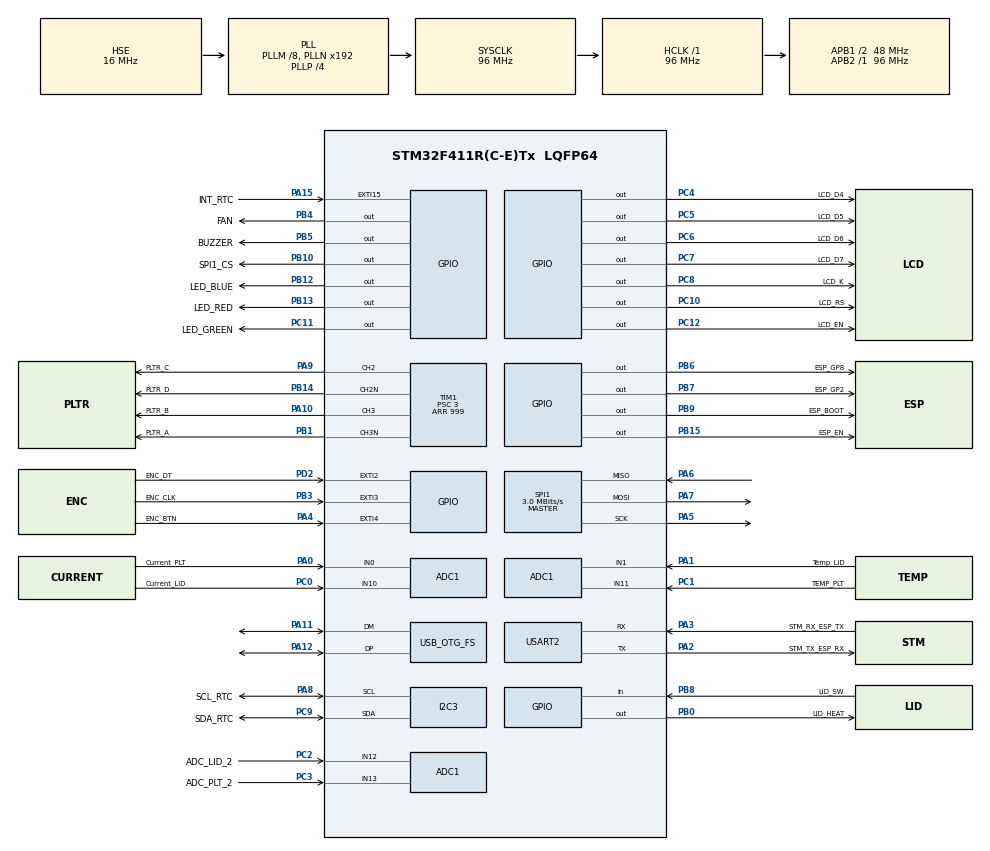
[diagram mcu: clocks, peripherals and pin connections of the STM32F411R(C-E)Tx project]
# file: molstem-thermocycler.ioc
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ADC1.Channel-0\#ChannelRegularConversion=ADC_CHANNEL_0
ADC1.Channel-5\#ChannelRegularConversion=ADC_CHANNEL_1
ADC1.Channel-6\#ChannelRegularConversion=ADC_CHANNEL_11
ADC1.Channel-7\#ChannelRegularConversion=ADC_CHANNEL_10
ADC1.ContinuousConvMode=DISABLE
ADC1.DMAContinuousRequests=ENABLE
ADC1.EOCSelection=ADC_EOC_SEQ_CONV
ADC1.ExternalTrigConv=ADC_EXTERNALTRIGCONV_T2_TRGO
ADC1.InjNumberOfConversion=0
ADC1.NbrOfConversion=4
ADC1.NbrOfConversionFlag=1
ADC1.Rank-0\#ChannelRegularConversion=1
ADC1.Rank-5\#ChannelRegularConversion=2
ADC1.Rank-6\#ChannelRegularConversion=3
ADC1.Rank-7\#ChannelRegularConversion=4
ADC1.SamplingTime-0\#ChannelRegularConversion=ADC_SAMPLETIME_84CYCLES
ADC1.SamplingTime-5\#ChannelRegularConversion=ADC_SAMPLETIME_84CYCLES
ADC1.SamplingTime-6\#ChannelRegularConversion=ADC_SAMPLETIME_84CYCLES
ADC1.SamplingTime-7\#ChannelRegularConversion=ADC_SAMPLETIME_84CYCLES
ADC1.ScanConvMode=ENABLE
ADC1.master=1
Dma.ADC1.0.Direction=DMA_PERIPH_TO_MEMORY
Dma.ADC1.0.FIFOMode=DMA_FIFOMODE_DISABLE
Dma.ADC1.0.Instance=DMA2_Stream0
Dma.ADC1.0.MemDataAlignment=DMA_MDATAALIGN_HALFWORD
Dma.ADC1.0.MemInc=DMA_MINC_ENABLE
Dma.ADC1.0.Mode=DMA_CIRCULAR
Dma.ADC1.0.PeriphDataAlignment=DMA_PDATAALIGN_HALFWORD
Dma.ADC1.0.PeriphInc=DMA_PINC_DISABLE
Dma.ADC1.0.Priority=DMA_PRIORITY_HIGH
Dma.Request0=ADC1
Dma.Request1=USART2_RX
Dma.USART2_RX.1.Direction=DMA_PERIPH_TO_MEMORY
Dma.USART2_RX.1.FIFOMode=DMA_FIFOMODE_DISABLE
Dma.USART2_RX.1.Instance=DMA1_Stream5
Dma.USART2_RX.1.MemDataAlignment=DMA_MDATAALIGN_BYTE
Dma.USART2_RX.1.MemInc=DMA_MINC_ENABLE
Dma.USART2_RX.1.Mode=DMA_CIRCULAR
Dma.USART2_RX.1.PeriphDataAlignment=DMA_PDATAALIGN_BYTE
Dma.USART2_RX.1.PeriphInc=DMA_PINC_DISABLE
Dma.USART2_RX.1.Priority=DMA_PRIORITY_LOW
FATFS._CODE_PAGE=850
FATFS._FS_LOCK=1
FATFS._FS_TINY=1
FATFS._LFN_UNICODE=0
FATFS._USE_LFN=3
FREERTOS.BinarySemaphores01=esp_rx_ackd,Dynamic,NULL,Depleted;esp_tx_rdy,Dynamic,NULL,Depleted;esp_rx_rcvd,Dynamic,NULL,Depleted
FREERTOS.Mutexes01=esp_io,Dynamic,NULL,Available
FREERTOS.Tasks01=microscheduler,32,2048,microscheduler_task,Default,NULL,Dynamic,NULL,NULL;usb_logging,8,2048,usb_logging_task,Default,NULL,Dynamic,NULL,NULL;control,55,1024,control_task,Default,NULL,Dynamic,NULL,NULL;uart_bridge,8,1024,uart_bridge_task,Default,NULL,Dynamic,NULL,NULL;esp_tx,8,128,esp_tx_task,Default,NULL,Dynamic,NULL,NULL
FREERTOS.configENABLE_FPU=1
FREERTOS.configMINIMAL_STACK_SIZE=128
FREERTOS.configTIMER_TASK_PRIORITY=3
FREERTOS.configTOTAL_HEAP_SIZE=80000
FREERTOS.configUSE_NEWLIB_REENTRANT=1
Mcu.Family=STM32F4
Mcu.Name=STM32F411R(C-E)Tx
Mcu.Package=LQFP64
NVIC.DMA1_Stream5_IRQn=true\:5\:0\:false\:false\:true\:true\:false\:true\:true
NVIC.DMA2_Stream0_IRQn=true\:5\:0\:false\:false\:true\:true\:false\:true\:true
NVIC.EXTI2_IRQn=true\:5\:0\:false\:false\:true\:true\:true\:true\:true
NVIC.EXTI3_IRQn=true\:5\:0\:false\:false\:true\:true\:true\:true\:true
NVIC.EXTI4_IRQn=true\:12\:0\:true\:false\:true\:true\:true\:true\:true
NVIC.OTG_FS_IRQn=true\:5\:0\:false\:false\:true\:true\:false\:true\:true
NVIC.PriorityGroup=NVIC_PRIORITYGROUP_4
NVIC.TIM1_BRK_TIM9_IRQn=true\:5\:0\:false\:false\:true\:true\:true\:true\:true
NVIC.TIM1_TRG_COM_TIM11_IRQn=true\:5\:0\:false\:false\:true\:false\:false\:true\:true
NVIC.TIM1_UP_TIM10_IRQn=true\:15\:0\:false\:false\:true\:false\:false\:true\:true
NVIC.TIM2_IRQn=true\:5\:0\:false\:false\:true\:true\:true\:true\:true
NVIC.TIM4_IRQn=true\:5\:0\:false\:false\:true\:true\:true\:true\:true
NVIC.TimeBase=TIM1_UP_TIM10_IRQn
NVIC.TimeBaseIP=TIM10
NVIC.USART2_IRQn=true\:5\:0\:false\:false\:true\:true\:true\:true\:true
PA0-WKUP.GPIO_Label=Current_PLT
PA0-WKUP.Signal=ADCx_IN0
PA1.GPIO_Label=Temp_LID
PA1.Signal=ADCx_IN1
PA10.GPIO_Label=PLTR_B
PA10.Signal=S_TIM1_CH3
PA11.Mode=Device_Only
PA11.Signal=USB_OTG_FS_DM
PA12.Mode=Device_Only
PA12.Signal=USB_OTG_FS_DP
PA13.Mode=Serial_Wire
PA13.Signal=SYS_JTMS-SWDIO
PA14.Mode=Serial_Wire
PA14.Signal=SYS_JTCK-SWCLK
PA15.GPIO_Label=INT_RTC
PA15.GPIO_ModeDefaultEXTI=GPIO_MODE_IT_FALLING
PA15.GPIO_PuPd=GPIO_PULLUP
PA15.Signal=GPXTI15
PA2.GPIO_Label=STM_TX_ESP_RX
PA2.Mode=Asynchronous
PA2.Signal=USART2_TX
PA3.GPIO_Label=STM_RX_ESP_TX
PA3.Mode=Asynchronous
PA3.Signal=USART2_RX
PA4.GPIO_Label=ENC_BTN
PA4.GPIO_ModeDefaultEXTI=GPIO_MODE_IT_RISING_FALLING
PA4.Signal=GPXTI4
PA5.Mode=Full_Duplex_Master
PA5.Signal=SPI1_SCK
PA6.Mode=Full_Duplex_Master
PA6.Signal=SPI1_MISO
PA7.Mode=Full_Duplex_Master
PA7.Signal=SPI1_MOSI
PA8.GPIO_Label=SCL_RTC
PA8.GPIO_Pu=GPIO_PULLUP
PA8.Mode=I2C
PA8.Signal=I2C3_SCL
PA9.GPIO_Label=PLTR_C
PA9.Signal=S_TIM1_CH2
PB0.GPIO_Label=LID_HEAT
PB0.Signal=GPIO_Output
PB1.GPIO_Label=PLTR_A
PB1.Mode=PWM Generation3 CH3 CH3N
PB1.Signal=TIM1_CH3N
PB10.GPIO_Label=SPI1_CS
PB10.Signal=GPIO_Output
PB12.GPIO_Label=LED_BLUE
PB12.Signal=GPIO_Output
PB13.GPIO_Label=LED_RED
PB13.Signal=GPIO_Output
PB14.GPIO_Label=PLTR_D
PB14.Mode=PWM Generation2 CH2 CH2N
PB14.Signal=TIM1_CH2N
PB15.GPIO_Label=ESP_EN
PB15.Signal=GPIO_Output
PB3.GPIO_Label=ENC_CLK
PB3.GPIO_ModeDefaultEXTI=GPIO_MODE_IT_RISING_FALLING
PB3.GPIO_PuPd=GPIO_PULLUP
PB3.Signal=GPXTI3
PB4.GPIO_Label=FAN
PB4.Signal=GPIO_Output
PB5.GPIO_Label=BUZZER
PB5.Signal=GPIO_Output
PB6.GPIO_Label=ESP_GP8
PB6.Signal=GPIO_Output
PB7.GPIO_Label=ESP_GP2
PB7.Signal=GPIO_Output
PB8.GPIO_Label=LID_SW
PB8.Signal=GPIO_Input
PB9.GPIO_Label=ESP_BOOT
PB9.Signal=GPIO_Output
PC0.GPIO_Label=Current_LID
PC0.Signal=ADCx_IN10
PC1.GPIO_Label=TEMP_PLT
PC1.Signal=ADCx_IN11
PC10.GPIO_Label=LCD_RS
PC10.Signal=GPIO_Output
PC11.GPIO_Label=LED_GREEN
PC11.Signal=GPIO_Output
PC12.GPIO_Label=LCD_EN
PC12.Signal=GPIO_Output
PC14-OSC32_IN.Mode=LSE-External-Oscillator
PC14-OSC32_IN.Signal=RCC_OSC32_IN
PC15-OSC32_OUT.Mode=LSE-External-Oscillator
PC15-OSC32_OUT.Signal=RCC_OSC32_OUT
PC2.GPIO_Label=ADC_LID_2
PC2.Signal=ADCx_IN12
PC3.GPIO_Label=ADC_PLT_2
PC3.Signal=SharedAnalog_PC3
PC4.GPIO_Label=LCD_D4
PC4.Signal=GPIO_Output
PC5.GPIO_Label=LCD_D5
PC5.Signal=GPIO_Output
PC6.GPIO_Label=LCD_D6
PC6.Signal=GPIO_Output
PC7.GPIO_Label=LCD_D7
PC7.Signal=GPIO_Output
PC8.GPIO_Label=LCD_K
PC8.Signal=GPIO_Output
PC9.GPIO_Label=SDA_RTC
PC9.GPIO_Pu=GPIO_PULLUP
PC9.Mode=I2C
PC9.Signal=I2C3_SDA
PD2.GPIO_Label=ENC_DT
PD2.GPIO_ModeDefaultEXTI=GPIO_MODE_IT_RISING_FALLING
PD2.GPIO_PuPd=GPIO_PULLUP
PD2.Signal=GPXTI2
PH0\ -\ OSC_IN.Mode=HSE-External-Oscillator
PH0\ -\ OSC_IN.Signal=RCC_OSC_IN
PH1\ -\ OSC_OUT.Mode=HSE-External-Oscillator
PH1\ -\ OSC_OUT.Signal=RCC_OSC_OUT
ProjectManager.HeapSize=0x2000
ProjectManager.StackSize=0x1600
ProjectManager.TargetToolchain=STM32CubeIDE
RCC.48MHZClocksFreq_Value=48000000
RCC.AHBFreq_Value=96000000
RCC.APB1CLKDivider=RCC_HCLK_DIV2
RCC.APB1Freq_Value=48000000
RCC.APB1TimFreq_Value=96000000
RCC.APB2Freq_Value=96000000
RCC.APB2TimFreq_Value=96000000
RCC.CortexFreq_Value=96000000
RCC.EnbaleCSS=true
RCC.HCLKFreq_Value=96000000
RCC.HSE_VALUE=16000000
RCC.HSI_VALUE=16000000
RCC.PLLM=8
RCC.PLLP=RCC_PLLP_DIV4
RCC.PLLQ=8
RCC.SYSCLKFreq_VALUE=96000000
RCC.SYSCLKSource=RCC_SYSCLKSOURCE_PLLCLK
RCC.VCOOutputFreq_Value=384000000
SH.ADCx_IN0.0=ADC1_IN0,IN0
SH.ADCx_IN1.0=ADC1_IN1,IN1
SH.ADCx_IN10.0=ADC1_IN10,IN10
SH.ADCx_IN11.0=ADC1_IN11,IN11
SH.ADCx_IN12.0=ADC1_IN12,IN12
SH.S_TIM1_CH2.0=TIM1_CH2,PWM Generation2 CH2 CH2N
SH.S_TIM1_CH3.0=TIM1_CH3,PWM Generation3 CH3 CH3N
SH.SharedAnalog_PC3.0=GPIO_Analog
SH.SharedAnalog_PC3.1=ADC1_IN13,IN13
SPI1.BaudRatePrescaler=SPI_BAUDRATEPRESCALER_32
SPI1.CalculateBaudRate=3.0 MBits/s
SPI1.Direction=SPI_DIRECTION_2LINES
SPI1.Mode=SPI_MODE_MASTER
SPI1.VirtualType=VM_MASTER
TIM1.BreakPolarity=TIM_BREAKPOLARITY_HIGH
TIM1.Channel-PWM\ Generation2\ CH2\ CH2N=TIM_CHANNEL_2
TIM1.Channel-PWM\ Generation3\ CH3\ CH3N=TIM_CHANNEL_3
TIM1.DeadTime=50
TIM1.OCFastMode_PWM-PWM\ Generation2\ CH2\ CH2N=TIM_OCFAST_DISABLE
TIM1.OCIdleState_2=TIM_OCIDLESTATE_RESET
TIM1.OCMode_PWM-PWM\ Generation2\ CH2\ CH2N=TIM_OCMODE_PWM1
TIM1.OCNPolarity_2=TIM_OCNPOLARITY_HIGH
TIM1.Period=999
TIM1.Prescaler=3
TIM1.Pulse-PWM\ Generation2\ CH2\ CH2N=0
TIM2.AutoReloadPreload=TIM_AUTORELOAD_PRELOAD_ENABLE
TIM2.Period=999
TIM2.Prescaler=95
TIM2.TIM_MasterOutputTrigger=TIM_TRGO_UPDATE
TIM4.Period=99
TIM4.Prescaler=9999
TIM9.Period=9999
TIM9.Prescaler=9999
USART2.VirtualMode=VM_ASYNC
USB_DEVICE.CLASS_NAME_FS=CDC
USB_DEVICE.MANUFACTURER_STRING=molstem.com
USB_DEVICE.PRODUCT_STRING_CDC_FS=molstem thermocycler
USB_DEVICE.VirtualMode=Cdc
USB_DEVICE.VirtualModeFS=Cdc_FS
USB_OTG_FS.VirtualMode=Device_Only
VP_CRC_VS_CRC.Mode=CRC_Activate
VP_FATFS_VS_Generic.Mode=User_defined
VP_FREERTOS_VS_CMSIS_V2.Mode=CMSIS_V2
VP_SYS_VS_tim10.Mode=TIM10
VP_TIM1_VS_ClockSourceINT.Mode=Internal
VP_TIM2_VS_ClockSourceINT.Mode=Internal
VP_TIM4_VS_ClockSourceINT.Mode=Internal
VP_TIM9_VS_ClockSourceINT.Mode=Internal
VP_USB_DEVICE_VS_USB_DEVICE_CDC_FS.Mode=CDC_FS
board=custom

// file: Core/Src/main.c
/* USER CODE BEGIN Header */
/**
 ******************************************************************************
 * @file           : main.c
 * @brief          : Main program body
 ******************************************************************************
 * @attention
 *
 * Copyright (c) 2025 STMicroelectronics.
 * All rights reserved.
 *
 * This software is licensed under terms that can be found in the LICENSE file
 * in the root directory of this software component.
 * If no LICENSE file comes with this software, it is provided AS-IS.
 *
 ******************************************************************************
 */
/* USER CODE END Header */
#include "main.h"
#include "cmsis_os.h"
#include "adc.h"
#include "crc.h"
#include "dma.h"
#include "fatfs.h"
#include "i2c.h"
#include "spi.h"
#include "tim.h"
#include "usart.h"
#include "usb_device.h"
#include "gpio.h"

void SystemClock_Config(void);
void MX_FREERTOS_Init(void);

int main(void)
{

  /* MCU Configuration--------------------------------------------------------*/

  /* Reset of all peripherals, Initializes the Flash interface and the Systick. */
  HAL_Init();

  /* Configure the system clock */
  SystemClock_Config();

  /* Initialize all configured peripherals */
  MX_GPIO_Init();
  MX_DMA_Init();
  MX_TIM1_Init();
  MX_SPI1_Init();
  MX_FATFS_Init();
  MX_TIM9_Init();
  MX_I2C3_Init();
  MX_TIM4_Init();
  MX_ADC1_Init();
  MX_USART2_UART_Init();
  MX_TIM2_Init();
  MX_CRC_Init();
  /* USER CODE BEGIN 2 */
  extern int molstem_before_kernel_start();
  if (!molstem_before_kernel_start()) {
    for(;;) {
	}
  }
  /* USER CODE END 2 */

  /* Init scheduler */
  osKernelInitialize();  /* Call init function for freertos objects (in cmsis_os2.c) */
  MX_FREERTOS_Init();

  /* Start scheduler */
  osKernelStart();

  /* We should never get here as control is now taken by the scheduler */

  /* Infinite loop */
	while (1)
	{

	}
}

void SystemClock_Config(void)
{
  RCC_OscInitTypeDef RCC_OscInitStruct = {0};
  RCC_ClkInitTypeDef RCC_ClkInitStruct = {0};

  /** Configure the main internal regulator output voltage
  */
  __HAL_RCC_PWR_CLK_ENABLE();
  __HAL_PWR_VOLTAGESCALING_CONFIG(PWR_REGULATOR_VOLTAGE_SCALE1);

  /** Initializes the RCC Oscillators according to the specified parameters
  * in the RCC_OscInitTypeDef structure.
  */
  RCC_OscInitStruct.OscillatorType = RCC_OSCILLATORTYPE_HSE;
  RCC_OscInitStruct.HSEState = RCC_HSE_ON;
  RCC_OscInitStruct.PLL.PLLState = RCC_PLL_ON;
  RCC_OscInitStruct.PLL.PLLSource = RCC_PLLSOURCE_HSE;
  RCC_OscInitStruct.PLL.PLLM = 8;
  RCC_OscInitStruct.PLL.PLLN = 192;
  RCC_OscInitStruct.PLL.PLLP = RCC_PLLP_DIV4;
  RCC_OscInitStruct.PLL.PLLQ = 8;
  if (HAL_RCC_OscConfig(&RCC_OscInitStruct) != HAL_OK)
  {
    Error_Handler();
  }

  /** Initializes the CPU, AHB and APB buses clocks
  */
  RCC_ClkInitStruct.ClockType = RCC_CLOCKTYPE_HCLK|RCC_CLOCKTYPE_SYSCLK
                              |RCC_CLOCKTYPE_PCLK1|RCC_CLOCKTYPE_PCLK2;
  RCC_ClkInitStruct.SYSCLKSource = RCC_SYSCLKSOURCE_PLLCLK;
  RCC_ClkInitStruct.AHBCLKDivider = RCC_SYSCLK_DIV1;
  RCC_ClkInitStruct.APB1CLKDivider = RCC_HCLK_DIV2;
  RCC_ClkInitStruct.APB2CLKDivider = RCC_HCLK_DIV1;

  if (HAL_RCC_ClockConfig(&RCC_ClkInitStruct, FLASH_LATENCY_3) != HAL_OK)
  {
    Error_Handler();
  }

  /** Enables the Clock Security System
  */
  HAL_RCC_EnableCSS();
}

void HAL_TIM_PeriodElapsedCallback(TIM_HandleTypeDef *htim)
{
  /* USER CODE BEGIN Callback 0 */
	if (htim->Instance == TIM2)
	{
		void control_interrupt();
		control_interrupt();
	}
  /* USER CODE END Callback 0 */
  if (htim->Instance == TIM10)
  {
    HAL_IncTick();
  }
}

void Error_Handler(void)
{
	__disable_irq();
	while (1)
	{
	}
}

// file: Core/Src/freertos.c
/* USER CODE BEGIN Header */
/**
  ******************************************************************************
  * File Name          : freertos.c
  * Description        : Code for freertos applications
  ******************************************************************************
  * @attention
  *
  * Copyright (c) 2025 STMicroelectronics.
  * All rights reserved.
  *
  * This software is licensed under terms that can be found in the LICENSE file
  * in the root directory of this software component.
  * If no LICENSE file comes with this software, it is provided AS-IS.
  *
  ******************************************************************************
  */
/* USER CODE END Header */

#include "FreeRTOS.h"
#include "task.h"
#include "main.h"
#include "cmsis_os.h"

/* Definitions for microscheduler */
osThreadId_t microschedulerHandle;
const osThreadAttr_t microscheduler_attributes = {
  .name = "microscheduler",
  .stack_size = 2048 * 4,
  .priority = (osPriority_t) osPriorityAboveNormal,
};
/* Definitions for usb_logging */
osThreadId_t usb_loggingHandle;
const osThreadAttr_t usb_logging_attributes = {
  .name = "usb_logging",
  .stack_size = 2048 * 4,
  .priority = (osPriority_t) osPriorityLow,
};
/* Definitions for control */
osThreadId_t controlHandle;
const osThreadAttr_t control_attributes = {
  .name = "control",
  .stack_size = 1024 * 4,
  .priority = (osPriority_t) osPriorityRealtime7,
};
/* Definitions for uart_bridge */
osThreadId_t uart_bridgeHandle;
const osThreadAttr_t uart_bridge_attributes = {
  .name = "uart_bridge",
  .stack_size = 1024 * 4,
  .priority = (osPriority_t) osPriorityLow,
};
/* Definitions for esp_tx */
osThreadId_t esp_txHandle;
const osThreadAttr_t esp_tx_attributes = {
  .name = "esp_tx",
  .stack_size = 128 * 4,
  .priority = (osPriority_t) osPriorityLow,
};
/* Definitions for esp_io */
osMutexId_t esp_ioHandle;
const osMutexAttr_t esp_io_attributes = {
  .name = "esp_io"
};
/* Definitions for esp_rx_ackd */
osSemaphoreId_t esp_rx_ackdHandle;
const osSemaphoreAttr_t esp_rx_ackd_attributes = {
  .name = "esp_rx_ackd"
};
/* Definitions for esp_tx_rdy */
osSemaphoreId_t esp_tx_rdyHandle;
const osSemaphoreAttr_t esp_tx_rdy_attributes = {
  .name = "esp_tx_rdy"
};
/* Definitions for esp_rx_rcvd */
osSemaphoreId_t esp_rx_rcvdHandle;
const osSemaphoreAttr_t esp_rx_rcvd_attributes = {
  .name = "esp_rx_rcvd"
};

void microscheduler_task(void *argument);
void usb_logging_task(void *argument);
void control_task(void *argument);
void uart_bridge_task(void *argument);
void esp_tx_task(void *argument);

extern void MX_USB_DEVICE_Init(void);
void MX_FREERTOS_Init(void); /* (MISRA C 2004 rule 8.1) */

void MX_FREERTOS_Init(void) {
  /* Create the mutex(es) */
  /* creation of esp_io */
  esp_ioHandle = osMutexNew(&esp_io_attributes);

  /* Create the semaphores(s) */
  /* creation of esp_rx_ackd */
  esp_rx_ackdHandle = osSemaphoreNew(1, 0, &esp_rx_ackd_attributes);

  /* creation of esp_tx_rdy */
  esp_tx_rdyHandle = osSemaphoreNew(1, 0, &esp_tx_rdy_attributes);

  /* creation of esp_rx_rcvd */
  esp_rx_rcvdHandle = osSemaphoreNew(1, 0, &esp_rx_rcvd_attributes);

  /* Create the thread(s) */
  /* creation of microscheduler */
  microschedulerHandle = osThreadNew(microscheduler_task, NULL, &microscheduler_attributes);

  /* creation of usb_logging */
  usb_loggingHandle = osThreadNew(usb_logging_task, NULL, &usb_logging_attributes);

  /* creation of control */
  controlHandle = osThreadNew(control_task, NULL, &control_attributes);

  /* creation of uart_bridge */
  uart_bridgeHandle = osThreadNew(uart_bridge_task, NULL, &uart_bridge_attributes);

  /* creation of esp_tx */
  esp_txHandle = osThreadNew(esp_tx_task, NULL, &esp_tx_attributes);

}

void microscheduler_task(void *argument)
{
  /* init code for USB_DEVICE */
  MX_USB_DEVICE_Init();
  /* USER CODE BEGIN microscheduler_task */
  void microtask_handler();
  microtask_handler();
  vTaskDelete( NULL );
  /* USER CODE END microscheduler_task */
}

void usb_logging_task(void *argument)
{
  /* USER CODE BEGIN usb_logging_task */
	void usb_logging_handler();
	usb_logging_handler();
	vTaskDelete( NULL );
  /* USER CODE END usb_logging_task */
}

void control_task(void *argument)
{
  /* USER CODE BEGIN control_task */
  /* Infinite loop */
	void control_handler();
	control_handler();
	vTaskDelete( NULL );
  /* USER CODE END control_task */
}

void uart_bridge_task(void *argument)
{
  /* USER CODE BEGIN uart_bridge_task */
  extern void uart_bridge_handler();
  uart_bridge_handler();
  vTaskDelete( NULL );
  /* USER CODE END uart_bridge_task */
}

void esp_tx_task(void *argument)
{
  /* USER CODE BEGIN esp_tx_task */
  /* Infinite loop */
  extern void esp_tx_handler();
  esp_tx_handler();
  vTaskDelete( NULL );
  /* USER CODE END esp_tx_task */
}
